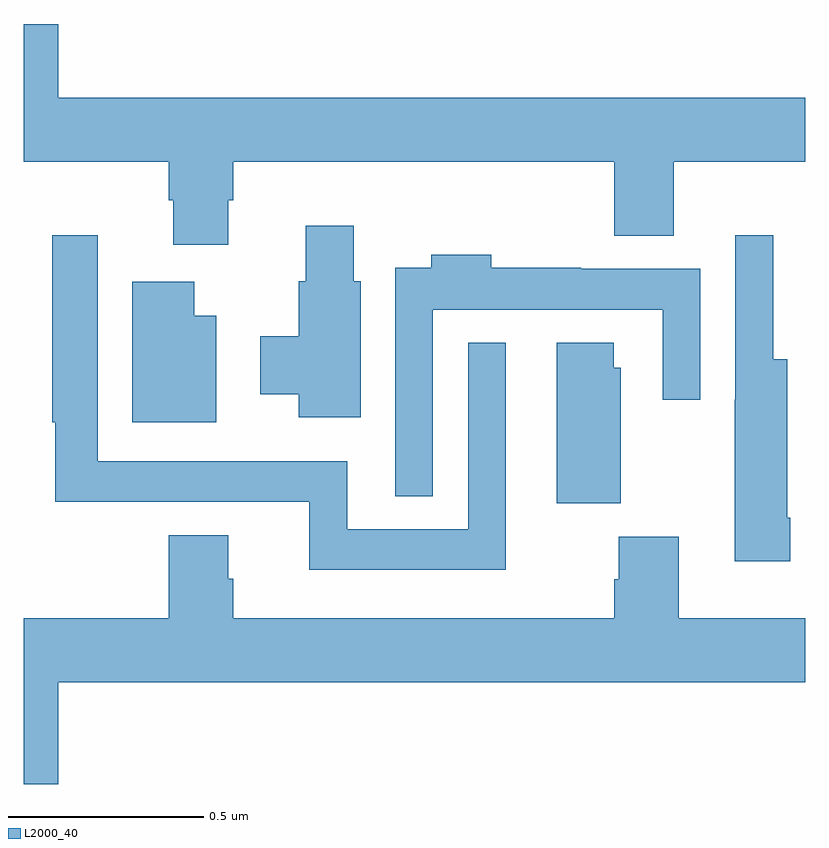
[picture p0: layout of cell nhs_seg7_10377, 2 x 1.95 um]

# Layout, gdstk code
import gdstk
lib = gdstk.Library(unit=1e-6, precision=1e-09)
def P(c, l, *ps):  # polygons
    for p in ps: c.add(gdstk.Polygon(p, *l))
L2000_40 = (2000, 40)

nhs_seg7_10377 = lib.new_cell('nhs_seg7_10377')
P(nhs_seg7_10377, L2000_40, [(249.523,1024.494),(249.536,1024.494),(249.536,1024.592),(250.511,1024.592),(250.511,1024.403),(250.663,1024.403),(250.663,1024.592),(251,1024.592),(251,1024.756),(249.088,1024.756),(249.088,1024.945),(249,1024.945),(249,1024.592),(249.371,1024.592),(249.371,1024.494),(249.383,1024.494),(249.383,1024.38),(249.523,1024.38)],
  [(249.862,1024.287),(249.844,1024.287),(249.844,1024.429),(249.722,1024.429),(249.722,1024.287),(249.704,1024.287),(249.704,1024.146),(249.605,1024.146),(249.605,1023.998),(249.704,1023.998),(249.704,1023.939),(249.862,1023.939)],
  [(250.962,1023.682),(250.954,1023.682),(250.954,1024.087),(250.918,1024.087),(250.918,1024.405),(250.821,1024.405),(250.821,1023.983),(250.82,1023.983),(250.82,1023.57),(250.962,1023.57)],
  [(250.234,1024.129),(250.137,1024.129),(250.137,1023.652),(249.828,1023.652),(249.828,1023.826),(249.189,1023.826),(249.189,1024.405),(249.073,1024.405),(249.073,1023.926),(249.081,1023.926),(249.081,1023.722),(249.731,1023.722),(249.731,1023.548),(250.234,1023.548)],
  [(250.047,1024.214),(250.635,1024.214),(250.635,1023.984),(250.731,1023.984),(250.731,1024.318),(250.427,1024.318),(250.427,1024.321),(250.196,1024.321),(250.196,1024.354),(250.043,1024.354),(250.043,1024.321),(249.951,1024.321),(249.951,1023.737),(250.047,1023.737)],
  [(249.493,1024.198),(249.436,1024.198),(249.436,1024.285),(249.278,1024.285),(249.278,1023.926),(249.493,1023.926)],
  [(250.528,1024.065),(250.51,1024.065),(250.51,1024.129),(250.364,1024.129),(250.364,1023.718),(250.528,1023.718)],
  [(249.088,1023.26),(251,1023.26),(251,1023.424),(250.676,1023.424),(250.676,1023.633),(250.523,1023.633),(250.523,1023.524),(250.511,1023.524),(250.511,1023.424),(249.536,1023.424),(249.536,1023.525),(249.523,1023.525),(249.523,1023.637),(249.371,1023.637),(249.371,1023.424),(249,1023.424),(249,1023),(249.088,1023)])

lib.write_gds('nhs_seg7_10377.gds')
